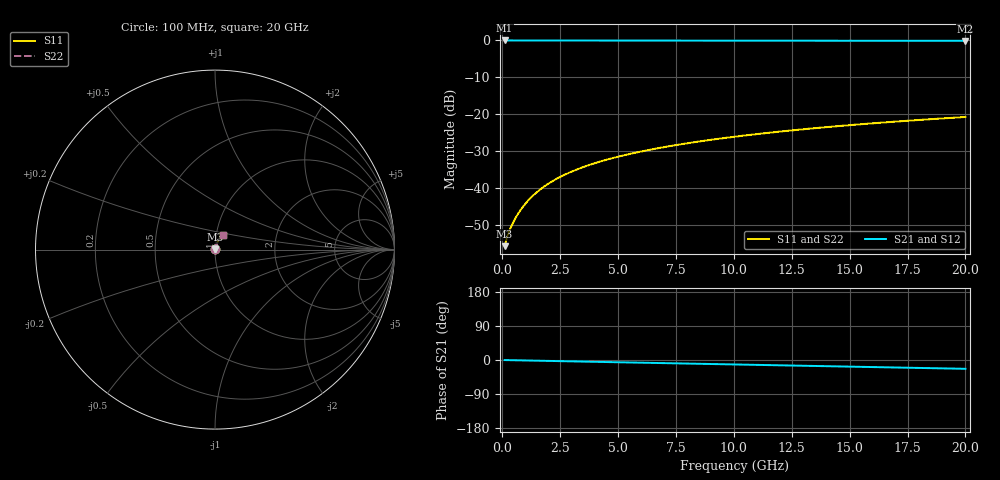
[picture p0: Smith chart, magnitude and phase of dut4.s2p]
! Touchstone file exported from HFSS 2026.1.0
!  File:  C:/ffzhzh/LocalFiles/Ansys_Project_Files/temp_train_BSMRDL_4_1782881764_13352.aedt
!  Generated:  12:57:21 PM Jul  1, 2026
!  Design:  BSMRDL
!  Project:  temp_train_BSMRDL_4_1782881764_13352
! Variables:
!  h_bsmrdl = 5.2um
!  h_ox = 20um
!  h_rdl = 5um
!  h_sub = 80um
!  h_tmrdl = 5um
!  h_tsv = 80um
!  h_via = 3um
!  l_bsmrdl = 394.18um
!  l_sub = 794.18um
!  l_tmrdl = 200um
!  m_sub = 200um
!  pitch = 31.39um
!  r_tsv = 6um
!  s_tmrdl = 10um
!  w_bsmrdl = 22.21um
!  w_sub = 500um
!  w_tmrdl = 12um
!  x_tsv_center1 = 206um
!  x_tsv_center2 = 622.39um
!  x_tsv_center3 = 834.39um
!  x_tsv_center4 = 1250.78um
!  x_tsv_center5 = 1462.78um
!  x_tsv_center6 = 1879.17um
# GHz S MA R 50.000000
! Terminal data exported
! Port[1] = BSM_RDL1_1_T1
! Port[2] = BSM_RDL1_1_T2
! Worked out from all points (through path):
!   200 points, 100 MHz to 20 GHz, reference 50 ohm
!   highest |S21| = -0.01 dB at 100 MHz (marker M1); lowest = -0.1 dB at 20 GHz (marker M2)
!   group delay of S21, straight-line fit = 3.21 ps
!   lowest |S11| = -55.9 dB at 100 MHz (marker M3), VSWR 1.00, Z = 50.1 + j0.0776 ohm
!   |S11| at or under -10 dB: start of sweep to end of sweep
!   |S22| runs from -55.9 to -20.8 dB; largest |S21 - S12| = 1e-14
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0.1  0.001611 28.7  0.9986 -0.1  0.9986 -0.1  0.001611 28.7
! Gamma 0 0 0 0
! Port Impedance 50 0 50 0
0.2  0.00211 41.5  0.9984 -0.3  0.9984 -0.3  0.00211 41.5
0.3  0.002585 48.8  0.9983 -0.4  0.9983 -0.4  0.002585 48.8
0.5  0.003528 58.4  0.9981 -0.6  0.9981 -0.6  0.003528 58.4
0.6  0.004019 61.7  0.9981 -0.7  0.9981 -0.7  0.004019 61.7
0.8  0.005035 66.4  0.998 -1.0  0.998 -1.0  0.005035 66.4
1  0.006081 69.5  0.9979 -1.2  0.9979 -1.2  0.006081 69.5
1.2  0.007143 71.5  0.9978 -1.5  0.9978 -1.5  0.007143 71.5
1.4  0.008212 72.9  0.9977 -1.7  0.9977 -1.7  0.008212 72.9
1.7  0.009815 74.2  0.9976 -2.1  0.9976 -2.1  0.009815 74.2
2.2  0.01246 75.3  0.9973 -2.7  0.9973 -2.7  0.01246 75.3
2.8  0.01558 75.6  0.9969 -3.4  0.9969 -3.4  0.01558 75.6
3.5  0.01911 75.5  0.9964 -4.2  0.9964 -4.2  0.01911 75.5
4.2  0.02255 75.1  0.9959 -5.0  0.9959 -5.0  0.02255 75.1
5  0.02639 74.6  0.9953 -6.0  0.9953 -6.0  0.02639 74.6
5.9  0.03062 74.0  0.9947 -7.0  0.9947 -7.0  0.03062 74.0
6.8  0.03477 73.3  0.9942 -8.1  0.9942 -8.1  0.03477 73.3
8.3  0.04158 72.1  0.9933 -9.8  0.9933 -9.8  0.04158 72.1
10.1  0.0496 70.6  0.9923 -11.9  0.9923 -11.9  0.04961 70.6
13.4  0.06397 67.6  0.9904 -15.7  0.9904 -15.7  0.06397 67.6
16.7  0.07789 64.4  0.9885 -19.5  0.9885 -19.5  0.0779 64.4
20  0.09132 61.1  0.9866 -23.2  0.9866 -23.2  0.09134 61.0
